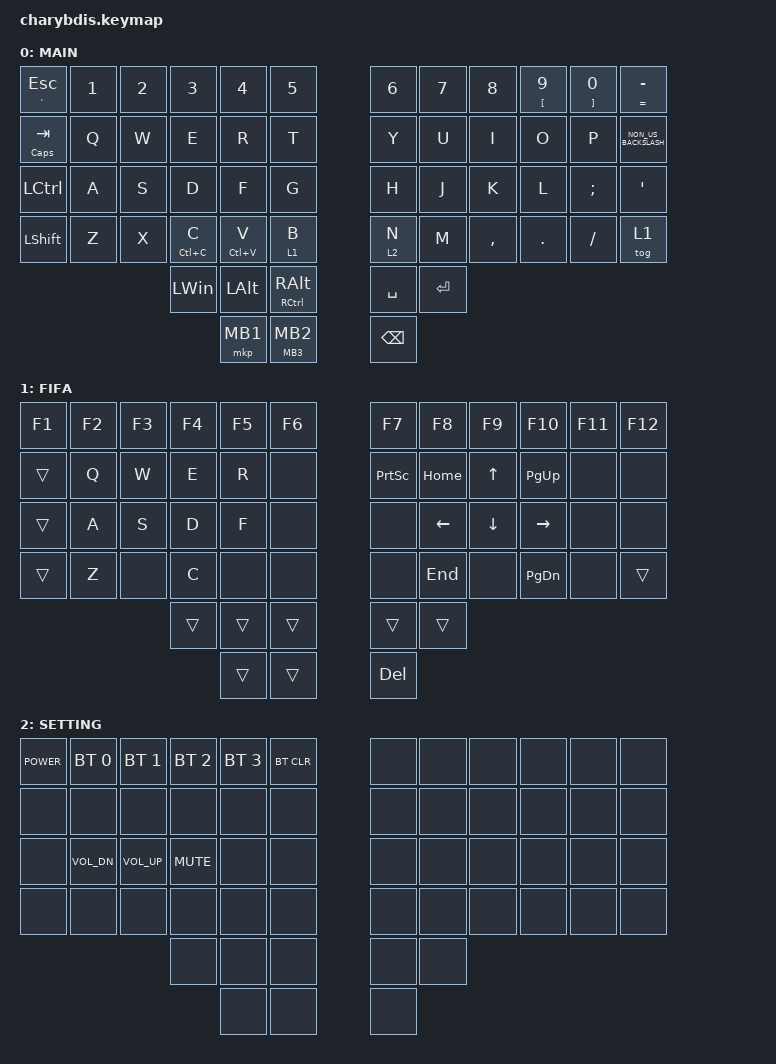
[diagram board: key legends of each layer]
#include <dt-bindings/zmk/mouse.h>
#include <behaviors.dtsi>
#include <dt-bindings/zmk/bt.h>
#include <dt-bindings/zmk/keys.h>
#include <dt-bindings/zmk/pointing.h>

/ {
    behaviors {
        // 일반 키용 Hold-Tap (구버전 필수 label 추가)

        ht: hold_tap {
            compatible = "zmk,behavior-hold-tap";
            label = "HOLD_TAP";
            #binding-cells = <2>;
            flavor = "balanced";
            tapping-term-ms = <200>;
            quick-tap-ms = <150>;
            bindings = <&kp>, <&kp>;
        };

        // 마우스 클릭용 Hold-Tap (구버전 필수 label 추가)

        hm: hold_tap_mouse {
            compatible = "zmk,behavior-hold-tap";
            label = "HOLD_TAP_MOUSE";
            #binding-cells = <2>;
            flavor = "balanced";
            tapping-term-ms = <200>;
            quick-tap-ms = <150>;
            bindings = <&mkp>, <&mkp>;
        };
    };

    keymap {
        compatible = "zmk,keymap";

        MAIN {
            bindings = <
&ht GRAVE ESC     &kp N1  &kp N2  &kp N3        &kp N4        &kp N5                         &kp N6         &kp N7     &kp N8     &ht LEFT_BRACKET N9  &ht RIGHT_BRACKET N0  &ht EQUAL MINUS
&ht CAPS TAB      &kp Q   &kp W   &kp E         &kp R         &kp T                          &kp Y          &kp U      &kp I      &kp O                &kp P                 &kp NON_US_BACKSLASH
&kp LEFT_CONTROL  &kp A   &kp S   &kp D         &kp F         &kp G                          &kp H          &kp J      &kp K      &kp L                &kp SEMICOLON         &kp SQT
&kp LEFT_SHIFT    &kp Z   &kp X   &ht LC(C) C   &ht LC(V) V   &lt 1 B                        &lt 2 N        &kp M      &kp COMMA  &kp PERIOD           &kp SLASH             &tog 1
                                  &kp LEFT_WIN  &kp LEFT_ALT  &ht RIGHT_CONTROL RIGHT_ALT    &kp SPACE      &kp ENTER
                                                &mkp MB1      &hm MB3 MB2                    &kp BACKSPACE
            >;

            // [추가] MAIN 레이어에서는 트랙볼이 일반 마우스 커서로 움직입니다.

            trackball-bindings = <&tmv_coarse>;
        };

        FIFA {
            bindings = <
&kp F1  &kp F2  &kp F3  &kp F4  &kp F5  &kp F6    &kp F7           &kp F8    &kp F9    &kp F10        &kp F11  &kp F12
&trans  &kp Q   &kp W   &kp E   &kp R   &none     &kp PRINTSCREEN  &kp HOME  &kp UP    &kp PAGE_UP    &none    &none
&trans  &kp A   &kp S   &kp D   &kp F   &none     &none            &kp LEFT  &kp DOWN  &kp RIGHT      &none    &none
&trans  &kp Z   &none   &kp C   &none   &none     &none            &kp END   &none     &kp PAGE_DOWN  &none    &trans
                        &trans  &trans  &trans    &trans           &trans
                                &trans  &trans    &kp DELETE
            >;

            // [추가] FIFA 레이어에서는 트랙볼을 굴리면 화면 스크롤(웹서핑용 휠)로 작동합니다.

            trackball-bindings = <&tsl>;
        };

        SETTING {
            bindings = <
&kp K_POWER  &bt BT_SEL 0  &bt BT_SEL 1  &bt BT_SEL 2  &bt BT_SEL 3  &bt BT_CLR    &none  &none  &none  &none  &none  &none
&none        &none         &none         &none         &none         &none         &none  &none  &none  &none  &none  &none
&none        &kp C_VOL_DN  &kp C_VOL_UP  &kp K_MUTE    &none         &none         &none  &none  &none  &none  &none  &none
&none        &none         &none         &none         &none         &none         &none  &none  &none  &none  &none  &none
                                         &none         &none         &none         &none  &none
                                                       &none         &none         &none
            >;

            // [추가] 세팅 레이어에서도 마우스 휠 스크롤이 유지되도록 세팅합니다.

            trackball-bindings = <&tsl>;
        };
    };
};
